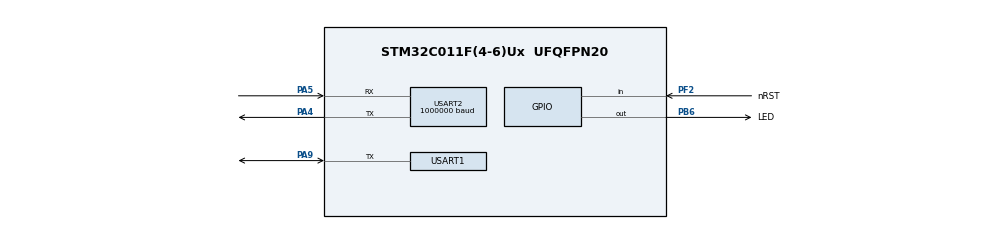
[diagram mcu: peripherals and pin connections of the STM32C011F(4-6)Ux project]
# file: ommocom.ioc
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Mcu.Family=STM32C0
Mcu.Name=STM32C011F(4-6)Ux
Mcu.Package=UFQFPN20
NVIC.TIM17_IRQn=true\:0\:0\:false\:false\:true\:true\:true\:true
NVIC.TIM1_BRK_UP_TRG_COM_IRQn=true\:0\:0\:false\:false\:true\:true\:true\:true
NVIC.USART1_IRQn=true\:0\:0\:false\:false\:true\:true\:true\:true
NVIC.USART2_IRQn=true\:0\:0\:false\:false\:true\:true\:true\:true
PA13.Mode=Serial_Wire
PA13.Signal=DEBUG_SWDIO
PA14-BOOT0.Mode=Serial_Wire
PA14-BOOT0.Signal=DEBUG_SWCLK
PA4.GPIO_PuPd=GPIO_PULLUP
PA4.GPIO_Speed=GPIO_SPEED_FREQ_VERY_HIGH
PA4.Mode=Asynchronous
PA4.PinState=GPIO_PIN_SET
PA4.Signal=USART2_TX
PA5.GPIO_PuPd=GPIO_PULLUP
PA5.GPIO_Speed=GPIO_SPEED_FREQ_VERY_HIGH
PA5.Mode=Asynchronous
PA5.PinState=GPIO_PIN_SET
PA5.Signal=USART2_RX
PA9\ [PA11].GPIO_FMPA9=SYSCFG_FASTMODEPLUS_PA9
PA9\ [PA11].GPIO_PuPd=GPIO_NOPULL
PA9\ [PA11].GPIO_Speed=GPIO_SPEED_FREQ_HIGH
PA9\ [PA11].Mode=Half_duplex(single_wire_mode)
PA9\ [PA11].Signal=USART1_TX
PB6.GPIO_Label=LED
PB6.GPIO_Speed=GPIO_SPEED_FREQ_VERY_HIGH
PB6.PinState=GPIO_PIN_RESET
PB6.Signal=GPIO_Output
PF2-NRST.GPIO_Label=nRST
PF2-NRST.Signal=GPIO_Input
ProjectManager.HeapSize=0x200
ProjectManager.StackSize=0x400
ProjectManager.TargetToolchain=MDK-ARM V5.32
RCC.ADCFreq_Value=48000000
RCC.AHBFreq_Value=48000000
RCC.CortexFreq_Value=48000000
RCC.EXTERNAL_CLOCK_VALUE=12288000
RCC.HCLKFreq_Value=48000000
RCC.HSE_VALUE=48000000
RCC.HSISYSCLKDivider=RCC_HSI_DIV1
RCC.HSI_VALUE=48000000
RCC.LSE_VALUE=32768
RCC.SYSCLKFreq_VALUE=48000000
TIM1.Period=9
TIM1.Prescaler=4799
TIM17.Prescaler=47
USART1.BaudRate=1000000
USART1.VirtualMode-Half_duplex(single_wire_mode)=VM_ASYNC
USART2.BaudRate=1000000
USART2.VirtualMode-Asynchronous=VM_ASYNC
VP_SYS_VS_PINREMAP.Mode=PINREMAP
VP_SYS_VS_PINREMAP_10_12.Mode=PINREMAP_10_12
VP_TIM17_VS_ClockSourceINT.Mode=Enable_Timer
VP_TIM1_VS_ClockSourceINT.Mode=Internal
board=STM32C0116-DK

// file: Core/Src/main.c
/* USER CODE BEGIN Header */
/**
  ******************************************************************************
  * @file           : main.c
  * @brief          : Main program body
  ******************************************************************************
  * @attention

  ******************************************************************************
  */
/* USER CODE END Header */
#include "main.h"
#include "tim.h"
#include "usart.h"
#include "gpio.h"

/* USER CODE BEGIN Includes */
#include <stdio.h>
#include "string.h"
//#include "spi.h"

/* USER CODE END Includes */

/* USER CODE BEGIN PTD */

#define BOOTLOAD_MODE
//#define READSENSOR_MODE

#define WAITREPEATTIME 1000  //10

uint8_t flg_sendtype=0;
    //1 -- FLASHTYPE_SEND_TXINFORM
    //2 -- FLASHTYPE_SEND_DATA
    //3 -- FLASHTYPE_SEND_LAST_DATA
    //4 -- FLASHTYPE_SEND_CRC
    //10 -- FLASHTYPE_GET_SENSOR_DATA

uint8_t iflashstep=0;
    //1 -- FLASHSTATUS_SEND_TXINFORM
    //2 -- FLASHSTATUS_RECEIVE_TXINFORM_RESPONSE
    //3 -- FLASHSTATUS_SEND_DATA
    //4 -- FLASHSTATUS_RECEIVE_DATA_RESPONSE
    //5 -- FLASHSTATUS_SEND_CRC
    //6 -- FLASHSTATUS_RECEIVE_CRC_RESPONSE

uint32_t iwaitrespcount=0;
uint8_t flg_repeat=0;
uint8_t islaveaddrout=0;
uint8_t islaveaddrin=0;

uint8_t mastercmd[TXDATALEN]={0};

/* USER CODE END PTD */

/* USER CODE BEGIN PD */

uint32_t idataoff =0;
uint32_t irestlen =0;
uint8_t flg_lastpackage=0;

#define TOTAL_DATA_SIZE   ( 0xEA4 )         //led bin

uint32_t icrctempdata[TOTAL_DATA_SIZE/4+1]={0};

uint8_t FLASHTEMPDATA[TOTAL_DATA_SIZE]={0};

////static const uint8_t FLASHTEMPDATA[TOTAL_DATA_SIZE]=
////{
////  0x00, 0x18, 0x00, 0x20, 0xF1, 0x36, 0x00, 0x08, 0x81, 0x34, 0x00, 0x08, 0x83, 0x34, 0x00, 0x08,
////  0x00, 0x00, 0x00, 0x00, 0x00, 0x00, 0x00, 0x00, 0x00, 0x00, 0x00, 0x00, 0x00, 0x00, 0x00, 0x00,
////  0x00, 0x00, 0x00, 0x00, 0x00, 0x00, 0x00, 0x00, 0x00, 0x00, 0x00, 0x00, 0x85, 0x34, 0x00, 0x08,
////  0x00, 0x00, 0x00, 0x00, 0x00, 0x00, 0x00, 0x00, 0x87, 0x34, 0x00, 0x08, 0x89, 0x34, 0x00, 0x08,
////  0x41, 0x37, 0x00, 0x08, 0x00, 0x00, 0x00, 0x00, 0x41, 0x37, 0x00, 0x08, 0x41, 0x37, 0x00, 0x08,
////  0x41, 0x37, 0x00, 0x08, 0x41, 0x37, 0x00, 0x08, 0x41, 0x37, 0x00, 0x08, 0x41, 0x37, 0x00, 0x08,
////  0x00, 0x00, 0x00, 0x00, 0x41, 0x37, 0x00, 0x08, 0x41, 0x37, 0x00, 0x08, 0x41, 0x37, 0x00, 0x08,
////  0x41, 0x37, 0x00, 0x08, 0x8D, 0x34, 0x00, 0x08, 0x41, 0x37, 0x00, 0x08, 0x00, 0x00, 0x00, 0x00,
////  0x41, 0x37, 0x00, 0x08, 0x00, 0x00, 0x00, 0x00, 0x00, 0x00, 0x00, 0x00, 0x41, 0x37, 0x00, 0x08,
////  0x00, 0x00, 0x00, 0x00, 0x41, 0x37, 0x00, 0x08, 0x41, 0x37, 0x00, 0x08, 0x41, 0x37, 0x00, 0x08,
////  0x00, 0x00, 0x00, 0x00, 0x41, 0x37, 0x00, 0x08, 0x00, 0x00, 0x00, 0x00, 0xA9, 0x34, 0x00, 0x08,
////  0x41, 0x37, 0x00, 0x08, 0x00, 0x00, 0x00, 0x00, 0x00, 0x00, 0x00, 0x00, 0x00, 0x00, 0x00, 0x00,
////  0x10, 0xB5, 0x06, 0x4C, 0x23, 0x78, 0x00, 0x2B, 0x07, 0xD1, 0x05, 0x4B, 0x00, 0x2B, 0x02, 0xD0,
////  0x04, 0x48, 0x00, 0xE0, 0x00, 0xBF, 0x01, 0x23, 0x23, 0x70, 0x10, 0xBD, 0x3C, 0x00, 0x00, 0x20,
////  0x00, 0x00, 0x00, 0x00, 0x94, 0x3D, 0x00, 0x08, 0x04, 0x4B, 0x10, 0xB5, 0x00, 0x2B, 0x03, 0xD0,
////  0x03, 0x49, 0x04, 0x48, 0x00, 0xE0, 0x00, 0xBF, 0x10, 0xBD, 0xC0, 0x46, 0x00, 0x00, 0x00, 0x00,
////  0x40, 0x00, 0x00, 0x20, 0x94, 0x3D, 0x00, 0x08, 0x00, 0x22, 0x43, 0x08, 0x8B, 0x42, 0x74, 0xD3,
////  0x03, 0x09, 0x8B, 0x42, 0x5F, 0xD3, 0x03, 0x0A, 0x8B, 0x42, 0x44, 0xD3, 0x03, 0x0B, 0x8B, 0x42,
////  0x28, 0xD3, 0x03, 0x0C, 0x8B, 0x42, 0x0D, 0xD3, 0xFF, 0x22, 0x09, 0x02, 0x12, 0xBA, 0x03, 0x0C,
////  0x8B, 0x42, 0x02, 0xD3, 0x12, 0x12, 0x09, 0x02, 0x65, 0xD0, 0x03, 0x0B, 0x8B, 0x42, 0x19, 0xD3,
////  0x00, 0xE0, 0x09, 0x0A, 0xC3, 0x0B, 0x8B, 0x42, 0x01, 0xD3, 0xCB, 0x03, 0xC0, 0x1A, 0x52, 0x41,
////  0x83, 0x0B, 0x8B, 0x42, 0x01, 0xD3, 0x8B, 0x03, 0xC0, 0x1A, 0x52, 0x41, 0x43, 0x0B, 0x8B, 0x42,
////  0x01, 0xD3, 0x4B, 0x03, 0xC0, 0x1A, 0x52, 0x41, 0x03, 0x0B, 0x8B, 0x42, 0x01, 0xD3, 0x0B, 0x03,
////  0xC0, 0x1A, 0x52, 0x41, 0xC3, 0x0A, 0x8B, 0x42, 0x01, 0xD3, 0xCB, 0x02, 0xC0, 0x1A, 0x52, 0x41,
////  0x83, 0x0A, 0x8B, 0x42, 0x01, 0xD3, 0x8B, 0x02, 0xC0, 0x1A, 0x52, 0x41, 0x43, 0x0A, 0x8B, 0x42,
////  0x01, 0xD3, 0x4B, 0x02, 0xC0, 0x1A, 0x52, 0x41, 0x03, 0x0A, 0x8B, 0x42, 0x01, 0xD3, 0x0B, 0x02,
////  0xC0, 0x1A, 0x52, 0x41, 0xCD, 0xD2, 0xC3, 0x09, 0x8B, 0x42, 0x01, 0xD3, 0xCB, 0x01, 0xC0, 0x1A,
////  0x52, 0x41, 0x83, 0x09, 0x8B, 0x42, 0x01, 0xD3, 0x8B, 0x01, 0xC0, 0x1A, 0x52, 0x41, 0x43, 0x09,
////  0x8B, 0x42, 0x01, 0xD3, 0x4B, 0x01, 0xC0, 0x1A, 0x52, 0x41, 0x03, 0x09, 0x8B, 0x42, 0x01, 0xD3,
////  0x0B, 0x01, 0xC0, 0x1A, 0x52, 0x41, 0xC3, 0x08, 0x8B, 0x42, 0x01, 0xD3, 0xCB, 0x00, 0xC0, 0x1A,
////  0x52, 0x41, 0x83, 0x08, 0x8B, 0x42, 0x01, 0xD3, 0x8B, 0x00, 0xC0, 0x1A, 0x52, 0x41, 0x43, 0x08,
////  0x8B, 0x42, 0x01, 0xD3, 0x4B, 0x00, 0xC0, 0x1A, 0x52, 0x41, 0x41, 0x1A, 0x00, 0xD2, 0x01, 0x46,
////  0x52, 0x41, 0x10, 0x46, 0x70, 0x47, 0xFF, 0xE7, 0x01, 0xB5, 0x00, 0x20, 0x00, 0xF0, 0x06, 0xF8,
////  0x02, 0xBD, 0xC0, 0x46, 0x00, 0x29, 0xF7, 0xD0, 0x76, 0xE7, 0x70, 0x47, 0x70, 0x47, 0xC0, 0x46,
////  0x1C, 0x21, 0x01, 0x23, 0x1B, 0x04, 0x98, 0x42, 0x01, 0xD3, 0x00, 0x0C, 0x10, 0x39, 0x1B, 0x0A,
////  0x98, 0x42, 0x01, 0xD3, 0x00, 0x0A, 0x08, 0x39, 0x1B, 0x09, 0x98, 0x42, 0x01, 0xD3, 0x00, 0x09,
////  0x04, 0x39, 0x02, 0xA2, 0x10, 0x5C, 0x40, 0x18, 0x70, 0x47, 0xC0, 0x46, 0x04, 0x03, 0x02, 0x02,
////  0x01, 0x01, 0x01, 0x01, 0x00, 0x00, 0x00, 0x00, 0x00, 0x00, 0x00, 0x00, 0x05, 0x4B, 0x82, 0xB0,
////  0x5A, 0x6B, 0x02, 0x43, 0x5A, 0x63, 0x5B, 0x6B, 0x18, 0x40, 0x01, 0x90, 0x01, 0x9B, 0x02, 0xB0,
////  0x70, 0x47, 0xC0, 0x46, 0x00, 0x10, 0x02, 0x40, 0x70, 0xB5, 0x86, 0xB0, 0x18, 0x22, 0x00, 0x21,
////  0x68, 0x46, 0x00, 0xF0, 0x7E, 0xFD, 0x20, 0x20, 0xFF, 0xF7, 0xE8, 0xFF, 0x01, 0x20, 0xFF, 0xF7,
////  0xE5, 0xFF, 0x40, 0x26, 0x02, 0x20, 0xFF, 0xF7, 0xE1, 0xFF, 0x00, 0x24, 0x04, 0x23, 0x0B, 0x4D,
////  0x69, 0x46, 0xAE, 0x62, 0x0A, 0x48, 0x00, 0x93, 0x01, 0x94, 0x04, 0x94, 0x00, 0xF0, 0xD2, 0xFA,
////  0x01, 0x23, 0x69, 0x46, 0x01, 0x93, 0x28, 0x00, 0x02, 0x33, 0x00, 0x96, 0x02, 0x93, 0x03, 0x94,
////  0x04, 0x94, 0x00, 0xF0, 0xC7, 0xFA, 0x06, 0xB0, 0x70, 0xBD, 0xC0, 0x46, 0x00, 0x04, 0x00, 0x50,
////  0x00, 0x14, 0x00, 0x50, 0x80, 0x22, 0x03, 0x4B, 0x98, 0x62, 0xD9, 0x69, 0x11, 0x42, 0xFC, 0xD0,
////  0x70, 0x47, 0xC0, 0x46, 0x00, 0x38, 0x01, 0x40, 0x10, 0xB5, 0x04, 0x00, 0x20, 0x78, 0x00, 0x28,
////  0x00, 0xD1, 0x10, 0xBD, 0x01, 0x34, 0xFF, 0xF7, 0xED, 0xFF, 0xF7, 0xE7, 0x07, 0x22, 0x1A, 0x49,
////  0x10, 0xB5, 0x0B, 0x68, 0x93, 0x43, 0x1A, 0x00, 0x01, 0x23, 0x13, 0x43, 0x80, 0x22, 0x0B, 0x60,
////  0x16, 0x4B, 0x52, 0x00, 0x19, 0x68, 0x0A, 0x43, 0x1A, 0x60, 0x80, 0x22, 0xD2, 0x00, 0x19, 0x68,
////  0x11, 0x42, 0xFC, 0xD0, 0x5A, 0x68, 0x12, 0x49, 0x11, 0x40, 0x80, 0x22, 0xD2, 0x01, 0x0A, 0x43,
////  0x5A, 0x60, 0x1A, 0x68, 0x0F, 0x49, 0x0A, 0x40, 0x1A, 0x60, 0x9A, 0x68, 0x0E, 0x49, 0x0A, 0x40,
////  0x07, 0x21, 0x9A, 0x60, 0x9A, 0x68, 0x8A, 0x43, 0x9A, 0x60, 0x38, 0x22, 0x99, 0x68, 0x11, 0x42,
////  0xFC, 0xD1, 0x9A, 0x68, 0x09, 0x49, 0x0A, 0x48, 0x0A, 0x40, 0x9A, 0x60, 0x00, 0xF0, 0xB8, 0xFC,
////  0x07, 0x48, 0x00, 0xF0, 0xDB, 0xFC, 0x10, 0xBD, 0x00, 0x20, 0x02, 0x40, 0x00, 0x10, 0x02, 0x40,
////  0xFF, 0x80, 0xFF, 0xFF, 0xFF, 0xC7, 0xFF, 0xFF, 0xFF, 0xF0, 0xFF, 0xFF, 0xFF, 0x8F, 0xFF, 0xFF,
////  0x00, 0x6C, 0xDC, 0x02, 0x01, 0x20, 0xF0, 0xB5, 0x31, 0x4B, 0x32, 0x4C, 0x85, 0xB0, 0xA3, 0x60,
////  0x31, 0x4B, 0xFA, 0x27, 0x19, 0x6C, 0x80, 0x26, 0x01, 0x43, 0x19, 0x64, 0x80, 0x21, 0x1A, 0x6C,
////  0x49, 0x05, 0x02, 0x40, 0x03, 0x92, 0x03, 0x9A, 0xDA, 0x6B, 0x7F, 0x00, 0x0A, 0x43, 0xDA, 0x63,
////  0xC0, 0x22, 0xDB, 0x6B, 0x12, 0x06, 0x0B, 0x40, 0x02, 0x93, 0x02, 0x9B, 0x23, 0x6A, 0xF6, 0x03,
////  0x1B, 0x02, 0x1B, 0x0A, 0x13, 0x43, 0x08, 0x22, 0x23, 0x62, 0x24, 0x4B, 0x19, 0x68, 0x0A, 0x43,
////  0x1A, 0x60, 0x10, 0x22, 0x19, 0x68, 0x0A, 0x43, 0x1A, 0x60, 0xFF, 0xF7, 0x8F, 0xFF, 0xFF, 0xF7,
////  0x4B, 0xFF, 0x00, 0xF0, 0xDD, 0xF8, 0x1E, 0x48, 0xFF, 0xF7, 0x7E, 0xFF, 0x00, 0x25, 0x1D, 0x48,
////  0x01, 0x95, 0xFF, 0xF7, 0x79, 0xFF, 0x38, 0x00, 0x00, 0xF0, 0x7A, 0xFC, 0x40, 0x22, 0x1A, 0x49,
////  0x48, 0x69, 0x03, 0x04, 0x82, 0x43, 0x33, 0x40, 0x13, 0x43, 0x8B, 0x61, 0x17, 0x4B, 0x1A, 0x68,
////  0x51, 0x1C, 0x19, 0x60, 0x09, 0x2A, 0xE9, 0xD9, 0x1D, 0x60, 0x00, 0xF0, 0x99, 0xF9, 0x80, 0x22,
////  0x13, 0x4B, 0x12, 0x02, 0x1A, 0x61, 0x01, 0x23, 0x12, 0x4A, 0x13, 0x49, 0x5B, 0x42, 0x01, 0x20,
////  0x00, 0xF0, 0xDC, 0xF9, 0x00, 0xF0, 0x9E, 0xF9, 0x01, 0x23, 0x83, 0xF3, 0x10, 0x88, 0xBF, 0xF3,
////  0x4F, 0x8F, 0x0E, 0x4B, 0xE3, 0x60, 0xBF, 0xF3, 0x4F, 0x8F, 0xC0, 0x46, 0xFD, 0xE7, 0xC0, 0x46,
////  0x00, 0x30, 0x00, 0x08, 0x00, 0xED, 0x00, 0xE0, 0x00, 0x10, 0x02, 0x40, 0x00, 0x00, 0x01, 0x40,
////  0xC0, 0x3D, 0x00, 0x08, 0xC6, 0x3D, 0x00, 0x08, 0x00, 0x04, 0x00, 0x50, 0x58, 0x00, 0x00, 0x20,
////  0x00, 0x20, 0x02, 0x40, 0x55, 0x55, 0xAA, 0xAA, 0x00, 0x70, 0x00, 0x08, 0x04, 0x00, 0xFA, 0x05,
////  0xFE, 0xE7, 0xFE, 0xE7, 0x70, 0x47, 0x70, 0x47, 0x70, 0x47, 0x00, 0x00, 0x05, 0x4B, 0x10, 0xB5,
////  0x1A, 0x69, 0xD2, 0x07, 0x02, 0xD5, 0x02, 0x22, 0x52, 0x42, 0x1A, 0x61, 0x00, 0xF0, 0x7A, 0xF8,
////  0x10, 0xBD, 0xC0, 0x46, 0x00, 0x2C, 0x01, 0x40, 0xF7, 0xB5, 0x20, 0x22, 0x2D, 0x4B, 0xD9, 0x69,
////  0x11, 0x42, 0x42, 0xD0, 0x19, 0x68, 0x11, 0x42, 0x3F, 0xD0, 0x2B, 0x4E, 0x5B, 0x6A, 0x31, 0x78,
////  0xDB, 0xB2, 0x00, 0x29, 0x0A, 0xD1, 0x55, 0x2B, 0x13, 0xD1, 0x28, 0x49, 0x1F, 0x3A, 0x32, 0x70,
////  0x0A, 0x68, 0x50, 0x1C, 0x08, 0x60, 0x26, 0x49, 0x53, 0x54, 0x0A, 0xE0, 0x25, 0x4F, 0x3D, 0x78,
////  0x00, 0x2D, 0x0D, 0xD1, 0x01, 0x29, 0x04, 0xD1, 0x20, 0x4A, 0xAA, 0x2B, 0x02, 0xD0, 0x35, 0x70,
////  0x15, 0x60, 0xF7, 0xBD, 0x39, 0x70, 0x11, 0x68, 0x48, 0x1C, 0x10, 0x60, 0x1C, 0x4A, 0xEB, 0xE7,
////  0x01, 0x2D, 0xF6, 0xD1, 0x19, 0x4C, 0x22, 0x68, 0x51, 0x1C, 0x21, 0x60, 0x18, 0x49, 0x8B, 0x54,
////  0x0A, 0x2B, 0xEE, 0xD1, 0x23, 0x68, 0x02, 0x3B, 0xCB, 0x5C, 0x0D, 0x2B, 0xE9, 0xD1, 0x22, 0x68,
////  0x15, 0x48, 0x00, 0xF0, 0x25, 0xFC, 0x22, 0x68, 0x14, 0x4B, 0x1A, 0x60, 0x14, 0x4B, 0x1D, 0x70,
////  0x00, 0x23, 0x33, 0x70, 0x3B, 0x70, 0x23, 0x60, 0xDB, 0xE7, 0xDA, 0x69, 0x01, 0x92, 0x04, 0x22,
////  0x01, 0x99, 0x11, 0x42, 0x01, 0xD0, 0x1A, 0x62, 0xD3, 0xE7, 0x01, 0x22, 0x01, 0x99, 0x11, 0x42,
////  0xF9, 0xD1, 0x08, 0x22, 0x01, 0x99, 0x11, 0x42, 0xF5, 0xD1, 0x02, 0x22, 0x01, 0x99, 0x11, 0x42,
////  0xC7, 0xD0, 0xF0, 0xE7, 0x00, 0x38, 0x01, 0x40, 0x5D, 0x00, 0x00, 0x20, 0x60, 0x00, 0x00, 0x20,
////  0x68, 0x00, 0x00, 0x20, 0x5E, 0x00, 0x00, 0x20, 0x7E, 0x00, 0x00, 0x20, 0x64, 0x00, 0x00, 0x20,
////  0x5C, 0x00, 0x00, 0x20, 0x01, 0x4B, 0x02, 0x4A, 0x9A, 0x60, 0x70, 0x47, 0x00, 0xED, 0x00, 0xE0,
////  0x00, 0x30, 0x00, 0x08, 0x01, 0x22, 0x01, 0x4B, 0x1A, 0x70, 0x70, 0x47, 0x94, 0x00, 0x00, 0x20,
////  0x70, 0xB5, 0x90, 0xB0, 0x20, 0x22, 0x00, 0x21, 0x08, 0xA8, 0x00, 0xF0, 0xEA, 0xFB, 0x03, 0x21,
////  0x80, 0x24, 0x01, 0x25, 0x46, 0x4B, 0xE4, 0x01, 0x5A, 0x6D, 0x80, 0x26, 0x8A, 0x43, 0x5A, 0x65,
////  0x18, 0x6C, 0xF6, 0x03, 0x20, 0x43, 0x18, 0x64, 0x1A, 0x6C, 0xA0, 0x20, 0x22, 0x40, 0x01, 0x92,
////  0x01, 0x9A, 0x5A, 0x6B, 0xC0, 0x05, 0x2A, 0x43, 0x5A, 0x63, 0x5B, 0x6B, 0x04, 0x91, 0x2B, 0x40,
////  0x00, 0x93, 0x00, 0x9B, 0x80, 0x23, 0x9B, 0x00, 0x02, 0x93, 0xFF, 0x3B, 0xFF, 0x3B, 0x02, 0xA9,
////  0x03, 0x93, 0x05, 0x95, 0x06, 0x95, 0x07, 0x95, 0x00, 0xF0, 0x2C, 0xF9, 0xC6, 0x21, 0x35, 0x4A,
////  0x89, 0x00, 0x13, 0x68, 0x33, 0x43, 0x13, 0x60, 0x33, 0x4A, 0x53, 0x58, 0x1B, 0x02, 0x1B, 0x0A,
////  0x53, 0x50, 0x80, 0x23, 0x1B, 0x05, 0x13, 0x60, 0x30, 0x4A, 0x00, 0x23, 0x09, 0x92, 0x0C, 0x22,
////  0x2F, 0x4C, 0x08, 0xA9, 0x20, 0x00, 0x08, 0x93, 0x0A, 0x93, 0x0B, 0x93, 0x0C, 0x93, 0x0D, 0x92,
////  0x0F, 0x93, 0x00, 0xF0, 0xDF, 0xFA, 0xEF, 0xF3, 0x10, 0x82, 0x85, 0xF3, 0x10, 0x88, 0xA3, 0x68,
////  0xDB, 0x00, 0xDB, 0x08, 0xA3, 0x60, 0x82, 0xF3, 0x10, 0x88, 0xEF, 0xF3, 0x10, 0x82, 0x85, 0xF3,
////  0x10, 0x88, 0x24, 0x49, 0xA3, 0x68, 0x0B, 0x40, 0xA3, 0x60, 0x82, 0xF3, 0x10, 0x88, 0x22, 0x4A,
////  0x23, 0x68, 0x13, 0x40, 0x23, 0x60, 0x63, 0x68, 0x20, 0x4A, 0x13, 0x40, 0x22, 0x22, 0x63, 0x60,
////  0xA3, 0x68, 0x93, 0x43, 0xA3, 0x60, 0x08, 0x23, 0xA2, 0x68, 0x13, 0x43, 0x80, 0x22, 0xA3, 0x60,
////  0x23, 0x68, 0x92, 0x03, 0x1D, 0x43, 0x25, 0x60, 0xE3, 0x69, 0x13, 0x42, 0xFC, 0xD0, 0xE3, 0x69,
////  0x33, 0x42, 0xF9, 0xD0, 0x08, 0x23, 0x02, 0x22, 0x23, 0x62, 0x04, 0x3B, 0x23, 0x62, 0x03, 0x3B,
////  0x23, 0x62, 0x22, 0x62, 0xEF, 0xF3, 0x10, 0x81, 0x83, 0xF3, 0x10, 0x88, 0x20, 0x68, 0x1E, 0x32,
////  0x02, 0x43, 0x22, 0x60, 0x81, 0xF3, 0x10, 0x88, 0xEF, 0xF3, 0x10, 0x82, 0x83, 0xF3, 0x10, 0x88,
////  0xA1, 0x68, 0x0B, 0x43, 0xA3, 0x60, 0x82, 0xF3, 0x10, 0x88, 0x10, 0xB0, 0x70, 0xBD, 0xC0, 0x46,
////  0x00, 0x10, 0x02, 0x40, 0x00, 0x00, 0x01, 0x40, 0x00, 0xE1, 0x00, 0xE0, 0x40, 0x42, 0x0F, 0x00,
////  0x00, 0x38, 0x01, 0x40, 0xFF, 0xFF, 0xFF, 0xF1, 0xFF, 0xFF, 0xFF, 0xDF, 0xFF, 0xB7, 0xFF, 0xFF,
////  0x0D, 0x48, 0x85, 0x46, 0xFF, 0xF7, 0x46, 0xFF, 0x00, 0x21, 0x03, 0xE0, 0x0B, 0x4B, 0x5B, 0x58,
////  0x43, 0x50, 0x04, 0x31, 0x0A, 0x48, 0x0B, 0x4B, 0x42, 0x18, 0x9A, 0x42, 0xF6, 0xD3, 0x0A, 0x4A,
////  0x02, 0xE0, 0x00, 0x23, 0x13, 0x60, 0x04, 0x32, 0x08, 0x4B, 0x9A, 0x42, 0xF9, 0xD3, 0x00, 0xF0,
////  0x03, 0xFB, 0xFF, 0xF7, 0x2F, 0xFE, 0xFE, 0xE7, 0x00, 0x18, 0x00, 0x20, 0x68, 0x3E, 0x00, 0x08,
////  0x00, 0x00, 0x00, 0x20, 0x3C, 0x00, 0x00, 0x20, 0x3C, 0x00, 0x00, 0x20, 0xB4, 0x00, 0x00, 0x20,
////  0xFE, 0xE7, 0x00, 0x00, 0x01, 0x4B, 0x18, 0x68, 0x70, 0x47, 0xC0, 0x46, 0x98, 0x00, 0x00, 0x20,
////  0x00, 0x20, 0x05, 0x4B, 0x5A, 0x69, 0x82, 0x42, 0x05, 0xDA, 0x04, 0x4A, 0x9A, 0x60, 0x04, 0x4A,
////  0x9A, 0x60, 0x58, 0x69, 0xC0, 0x0F, 0x70, 0x47, 0x00, 0x20, 0x02, 0x40, 0x23, 0x01, 0x67, 0x45,
////  0xAB, 0x89, 0xEF, 0xCD, 0x80, 0x22, 0x04, 0x4B, 0x12, 0x06, 0x59, 0x69, 0x0A, 0x43, 0x5A, 0x61,
////  0x58, 0x69, 0xC0, 0x43, 0xC0, 0x0F, 0x70, 0x47, 0x00, 0x20, 0x02, 0x40, 0xF8, 0xB5, 0x05, 0x00,
////  0x80, 0x27, 0xFF, 0xF7, 0xD7, 0xFF, 0x7F, 0x02, 0x46, 0x19, 0x11, 0x4C, 0x23, 0x69, 0x3B, 0x42,
////  0x05, 0xD0, 0xFF, 0xF7, 0xCF, 0xFF, 0xB0, 0x42, 0xF7, 0xD3, 0x03, 0x20, 0x07, 0xE0, 0x23, 0x69,
////  0x0C, 0x4A, 0x13, 0x40, 0x23, 0x61, 0x03, 0xD0, 0x01, 0x20, 0x0B, 0x4A, 0x53, 0x60, 0xF8, 0xBD,
////  0xFF, 0xF7, 0xC0, 0xFF, 0x80, 0x26, 0x2D, 0x18, 0xF6, 0x02, 0x23, 0x69, 0x18, 0x00, 0x30, 0x40,
////  0x33, 0x42, 0xF4, 0xD0, 0xFF, 0xF7, 0xB6, 0xFF, 0x85, 0x42, 0xF6, 0xD8, 0xE5, 0xE7, 0xC0, 0x46,
////  0x00, 0x20, 0x02, 0x40, 0xFA, 0xC3, 0x00, 0x00, 0x9C, 0x00, 0x00, 0x20, 0xF7, 0xB5, 0x17, 0x4E,
////  0x01, 0x93, 0x33, 0x78, 0x04, 0x00, 0x0D, 0x00, 0x02, 0x20, 0x00, 0x92, 0x01, 0x2B, 0x1E, 0xD0,
////  0x01, 0x23, 0xFA, 0x20, 0x33, 0x70, 0x00, 0x23, 0x80, 0x00, 0x73, 0x60, 0xFF, 0xF7, 0xBE, 0xFF,
////  0x00, 0x28, 0x12, 0xD1, 0x0E, 0x4F, 0x01, 0x2C, 0x12, 0xD1, 0x7B, 0x69, 0x23, 0x43, 0x7B, 0x61,
////  0x00, 0x9B, 0x2B, 0x60, 0xBF, 0xF3, 0x6F, 0x8F, 0x01, 0x9B, 0x6B, 0x60, 0xFA, 0x20, 0x80, 0x00,
////  0xFF, 0xF7, 0xAC, 0xFF, 0x7B, 0x69, 0xA3, 0x43, 0x7B, 0x61, 0x00, 0x23, 0x33, 0x70, 0xFE, 0xBD,
////  0x28, 0x00, 0x00, 0x99, 0x00, 0xF0, 0xB4, 0xFA, 0xF0, 0xE7, 0xC0, 0x46, 0x9C, 0x00, 0x00, 0x20,
////  0x00, 0x20, 0x02, 0x40, 0xF0, 0xB5, 0x87, 0xB0, 0x0B, 0x68, 0x02, 0x91, 0x1F, 0x22, 0x01, 0x21,
////  0x01, 0x93, 0x05, 0x00, 0x01, 0x98, 0x5B, 0x08, 0x00, 0x2B, 0x1E, 0xD1, 0x90, 0x40, 0x20, 0x33,
////  0x00, 0x28, 0x02, 0xD0, 0xFF, 0xF7, 0xD4, 0xFC, 0xC3, 0xB2, 0x03, 0x93, 0x02, 0x9B, 0x03, 0x9A,
////  0x5B, 0x68, 0x04, 0x93, 0x01, 0x9B, 0xD3, 0x40, 0x16, 0xD1, 0x04, 0x9B, 0x01, 0x3B, 0x01, 0x2B,
////  0x08, 0xD8, 0x6B, 0x68, 0x01, 0x9A, 0x01, 0x99, 0x93, 0x43, 0x02, 0x9A, 0xD2, 0x68, 0x4A, 0x43,
////  0x13, 0x43, 0x6B, 0x60, 0x00, 0x20, 0x07, 0xB0, 0xF0, 0xBD, 0x1C, 0x00, 0x40, 0x00, 0x0C, 0x40,
////  0x20, 0x43, 0x01, 0x3A, 0x5B, 0x08, 0xD7, 0xE7, 0x01, 0x23, 0x03, 0x9A, 0x01, 0x9C, 0x93, 0x40,
////  0x01, 0x9A, 0x1C, 0x40, 0x1A, 0x42, 0x00, 0xD1, 0xD3, 0xE0, 0x66, 0x08, 0x20, 0x00, 0x33, 0x00,
////  0x1F, 0x22, 0x2F, 0x68, 0x00, 0x2B, 0x70, 0xD1, 0x90, 0x40, 0x20, 0x33, 0x00, 0x28, 0x02, 0xD0,
////  0xFF, 0xF7, 0x9E, 0xFC, 0xC3, 0xB2, 0x03, 0x22, 0x5B, 0x00, 0x9A, 0x40, 0x20, 0x00, 0x97, 0x43,
////  0x33, 0x00, 0x1F, 0x22, 0x00, 0x2B, 0x67, 0xD1, 0x90, 0x40, 0x20, 0x33, 0x00, 0x28, 0x02, 0xD0,
////  0xFF, 0xF7, 0x8E, 0xFC, 0xC3, 0xB2, 0x04, 0x9A, 0x5B, 0x00, 0x9A, 0x40, 0x04, 0x9B, 0x17, 0x43,
////  0x01, 0x3B, 0x2F, 0x60, 0x01, 0x2B, 0x24, 0xD8, 0x02, 0x9B, 0x20, 0x00, 0x9B, 0x68, 0x1F, 0x22,
////  0x05, 0x93, 0x33, 0x00, 0xAF, 0x68, 0x00, 0x2B, 0x55, 0xD1, 0x90, 0x40, 0x20, 0x33, 0x00, 0x28,
////  0x02, 0xD0, 0xFF, 0xF7, 0x75, 0xFC, 0xC3, 0xB2, 0x03, 0x22, 0x5B, 0x00, 0x9A, 0x40, 0x20, 0x00,
////  0x97, 0x43, 0x33, 0x00, 0x1F, 0x22, 0x00, 0x2B, 0x4C, 0xD1, 0x90, 0x40, 0x20, 0x33, 0x00, 0x28,
////  0x02, 0xD0, 0xFF, 0xF7, 0x65, 0xFC, 0xC3, 0xB2, 0x05, 0x9A, 0x5B, 0x00, 0x9A, 0x40, 0x17, 0x43,
////  0xAF, 0x60, 0x02, 0x9B, 0x20, 0x00, 0x1B, 0x69, 0x1F, 0x22, 0x05, 0x93, 0x33, 0x00, 0xEF, 0x68,
////  0x00, 0x2B, 0x3E, 0xD1, 0x90, 0x40, 0x20, 0x33, 0x00, 0x28, 0x02, 0xD0, 0xFF, 0xF7, 0x50, 0xFC,
////  0xC3, 0xB2, 0x03, 0x22, 0x5B, 0x00, 0x9A, 0x40, 0x20, 0x00, 0x97, 0x43, 0x33, 0x00, 0x1F, 0x22,
////  0x00, 0x2B, 0x35, 0xD1, 0x90, 0x40, 0x20, 0x33, 0x00, 0x28, 0x02, 0xD0, 0xFF, 0xF7, 0x40, 0xFC,
////  0xC3, 0xB2, 0x05, 0x9A, 0x5B, 0x00, 0x9A, 0x40, 0x04, 0x9B, 0x17, 0x43, 0xEF, 0x60, 0x02, 0x2B,
////  0x5F, 0xD1, 0x20, 0x00, 0x33, 0x00, 0x1F, 0x22, 0x2F, 0xE0, 0x01, 0x21, 0x40, 0x00, 0x19, 0x40,
////  0x08, 0x43, 0x01, 0x3A, 0x5B, 0x08, 0x85, 0xE7, 0x01, 0x21, 0x40, 0x00, 0x19, 0x40, 0x08, 0x43,
////  0x01, 0x3A, 0x5B, 0x08, 0x8E, 0xE7, 0x01, 0x21, 0x40, 0x00, 0x19, 0x40, 0x08, 0x43, 0x01, 0x3A,
////  0x5B, 0x08, 0xA0, 0xE7, 0x01, 0x21, 0x40, 0x00, 0x19, 0x40, 0x08, 0x43, 0x01, 0x3A, 0x5B, 0x08,
////  0xA9, 0xE7, 0x01, 0x21, 0x40, 0x00, 0x19, 0x40, 0x08, 0x43, 0x01, 0x3A, 0x5B, 0x08, 0xB7, 0xE7,
////  0x01, 0x21, 0x40, 0x00, 0x19, 0x40, 0x08, 0x43, 0x01, 0x3A, 0x5B, 0x08, 0xC0, 0xE7, 0x01, 0x21,
////  0x40, 0x00, 0x19, 0x40, 0x08, 0x43, 0x01, 0x3A, 0x5B, 0x08, 0x00, 0x2B, 0xF7, 0xD1, 0x02, 0x9B,
////  0x90, 0x40, 0x5B, 0x69, 0x04, 0x93, 0x35, 0xD0, 0xFF, 0xF7, 0xFA, 0xFB, 0x07, 0x28, 0x31, 0xDC,
////  0x20, 0x00, 0x33, 0x00, 0x1F, 0x22, 0x2F, 0x6A, 0x00, 0x2B, 0x1D, 0xD1, 0x90, 0x40, 0x20, 0x33,
////  0x00, 0x28, 0x02, 0xD0, 0xFF, 0xF7, 0xEC, 0xFB, 0xC3, 0xB2, 0x0F, 0x22, 0x9B, 0x00, 0x9A, 0x40,
////  0x1F, 0x23, 0x97, 0x43, 0x00, 0x2E, 0x16, 0xD1, 0x20, 0x00, 0x98, 0x40, 0x20, 0x23, 0x00, 0x28,
////  0x02, 0xD0, 0xFF, 0xF7, 0xDD, 0xFB, 0xC3, 0xB2, 0x04, 0x9A, 0x9B, 0x00, 0x9A, 0x40, 0x17, 0x43,
////  0x2F, 0x62, 0x03, 0x9B, 0x01, 0x33, 0x00, 0xE7, 0x01, 0x21, 0x40, 0x00, 0x19, 0x40, 0x08, 0x43,
////  0x01, 0x3A, 0x5B, 0x08, 0xD8, 0xE7, 0x01, 0x20, 0x64, 0x00, 0x30, 0x40, 0x04, 0x43, 0x01, 0x3B,
////  0x76, 0x08, 0xDF, 0xE7, 0x26, 0x0A, 0x64, 0x0A, 0x30, 0x00, 0x23, 0x00, 0x1F, 0x22, 0x6F, 0x6A,
////  0x00, 0x2B, 0x1B, 0xD1, 0x90, 0x40, 0x20, 0x33, 0x00, 0x28, 0x02, 0xD0, 0xFF, 0xF7, 0xB8, 0xFB,
////  0xC3, 0xB2, 0x0F, 0x22, 0x9B, 0x00, 0x9A, 0x40, 0x1F, 0x23, 0x97, 0x43, 0x00, 0x2C, 0x14, 0xD1,
////  0x30, 0x00, 0x98, 0x40, 0x20, 0x23, 0x00, 0x28, 0x02, 0xD0, 0xFF, 0xF7, 0xA9, 0xFB, 0xC3, 0xB2,
////  0x04, 0x9A, 0x9B, 0x00, 0x9A, 0x40, 0x17, 0x43, 0x6F, 0x62, 0xCA, 0xE7, 0x01, 0x21, 0x40, 0x00,
////  0x19, 0x40, 0x08, 0x43, 0x01, 0x3A, 0x5B, 0x08, 0xDA, 0xE7, 0x01, 0x20, 0x76, 0x00, 0x20, 0x40,
////  0x06, 0x43, 0x01, 0x3B, 0x64, 0x08, 0xE1, 0xE7, 0x38, 0x22, 0x06, 0x49, 0x8B, 0x68, 0x13, 0x40,
////  0x05, 0x4A, 0x10, 0x00, 0x08, 0x2B, 0x04, 0xD0, 0x0B, 0x68, 0x9B, 0x04, 0x5B, 0x0F, 0xDA, 0x40,
////  0x10, 0x00, 0x70, 0x47, 0x00, 0x10, 0x02, 0x40, 0x00, 0x6C, 0xDC, 0x02, 0x05, 0x4B, 0x06, 0x4A,
////  0x9B, 0x68, 0x1B, 0x05, 0x1B, 0x0F, 0x9B, 0x00, 0x9B, 0x58, 0x1F, 0x22, 0x13, 0x40, 0xD8, 0x40,
////  0x70, 0x47, 0xC0, 0x46, 0x00, 0x10, 0x02, 0x40, 0xD0, 0x3D, 0x00, 0x08, 0x05, 0x4B, 0x06, 0x4A,
////  0x9B, 0x68, 0x5B, 0x04, 0x5B, 0x0F, 0x9B, 0x00, 0x9B, 0x58, 0x1F, 0x22, 0x13, 0x40, 0xD8, 0x40,
////  0x70, 0x47, 0xC0, 0x46, 0x00, 0x10, 0x02, 0x40, 0x10, 0x3E, 0x00, 0x08, 0x10, 0xB5, 0x04, 0x00,
////  0xFF, 0xF7, 0xCA, 0xFF, 0x20, 0x60, 0xFF, 0xF7, 0xD9, 0xFF, 0x60, 0x60, 0xFF, 0xF7, 0xE6, 0xFF,
////  0xA0, 0x60, 0x10, 0xBD, 0x02, 0x00, 0x10, 0xB5, 0x00, 0x20, 0x03, 0x2A, 0x10, 0xD1, 0x18, 0x4B,
////  0x58, 0x6D, 0x02, 0x40, 0xC0, 0x20, 0x80, 0x02, 0x10, 0x43, 0x16, 0x4A, 0x90, 0x42, 0x08, 0xD0,
////  0x15, 0x4A, 0x90, 0x42, 0x14, 0xD0, 0x15, 0x4B, 0x98, 0x42, 0x1A, 0xD1, 0xFF, 0xF7, 0xAC, 0xFF,
////  0x10, 0xBD, 0x19, 0x68, 0x80, 0x22, 0x08, 0x00, 0xD2, 0x00, 0x10, 0x40, 0x11, 0x42, 0xF7, 0xD0,
////  0x19, 0x68, 0x0F, 0x48, 0x09, 0x06, 0x49, 0x0F, 0x01, 0x31, 0xFF, 0xF7, 0xA5, 0xFA, 0xEF, 0xE7,
////  0xDA, 0x6D, 0x02, 0x23, 0x10, 0x00, 0x18, 0x40, 0x1A, 0x42, 0xE9, 0xD0, 0x80, 0x20, 0x00, 0x02,
////  0xE6, 0xE7, 0xFF, 0xF7, 0x91, 0xFF, 0xFF, 0xF7, 0xA1, 0xFF, 0xFF, 0xF7, 0xAF, 0xFF, 0xDF, 0xE7,
////  0x00, 0x10, 0x02, 0x40, 0x02, 0x00, 0x03, 0x00, 0x03, 0x00, 0x03, 0x00, 0x01, 0x00, 0x03, 0x00,
////  0x00, 0x6C, 0xDC, 0x02, 0xF0, 0xB5, 0x01, 0x26, 0x03, 0x68, 0x04, 0x00, 0x0D, 0x00, 0x85, 0xB0,
////  0x33, 0x42, 0x48, 0xD1, 0x8B, 0x68, 0x09, 0x69, 0x02, 0x68, 0x0B, 0x43, 0x69, 0x69, 0x0B, 0x43,
////  0xE9, 0x69, 0x0B, 0x43, 0x27, 0x49, 0x0A, 0x40, 0x13, 0x43, 0x03, 0x60, 0x43, 0x68, 0x26, 0x4A,
////  0x13, 0x40, 0xEA, 0x68, 0x13, 0x43, 0x43, 0x60, 0x83, 0x68, 0x24, 0x4A, 0x13, 0x40, 0xAA, 0x69,
////  0x13, 0x43, 0x83, 0x60, 0x22, 0x4B, 0x98, 0x42, 0x22, 0xD1, 0x03, 0x20, 0xFF, 0xF7, 0x9A, 0xFF,
////  0x00, 0x28, 0x20, 0xD0, 0x6F, 0x68, 0x00, 0x2F, 0x1D, 0xD0, 0x2B, 0x68, 0x00, 0x26, 0x0B, 0x2B,
////  0x1A, 0xD8, 0x1C, 0x4A, 0x9B, 0x00, 0x99, 0x58, 0xFF, 0xF7, 0x56, 0xFA, 0x80, 0x22, 0xE9, 0x69,
////  0x7B, 0x08, 0x12, 0x02, 0x91, 0x42, 0x1E, 0xD1, 0x40, 0x00, 0xC0, 0x18, 0x39, 0x00, 0xFF, 0xF7,
////  0x4B, 0xFA, 0x15, 0x4B, 0x03, 0x40, 0x00, 0x07, 0x40, 0x0F, 0x18, 0x43, 0xE0, 0x60, 0x03, 0xE0,
////  0x12, 0x4B, 0x98, 0x42, 0x0A, 0xD0, 0x01, 0x26, 0x0F, 0x22, 0xE1, 0x6A, 0x2B, 0x68, 0x91, 0x43,
////  0x9B, 0xB2, 0x0B, 0x43, 0xE3, 0x62, 0x30, 0x00, 0x05, 0xB0, 0xF0, 0xBD, 0x01, 0xA8, 0xFF, 0xF7,
////  0x5D, 0xFF, 0x03, 0x98, 0xCC, 0xE7, 0x39, 0x00, 0xC0, 0x18, 0xFF, 0xF7, 0x2D, 0xFA, 0x80, 0xB2,
////  0xE4, 0xE7, 0xC0, 0x46, 0xF3, 0x69, 0xFF, 0xEF, 0xFF, 0xCF, 0xFF, 0xFF, 0xFF, 0xFC, 0xFF, 0xFF,
////  0x00, 0x38, 0x01, 0x40, 0x30, 0x3E, 0x00, 0x08, 0xF0, 0xFF, 0x00, 0x00, 0x00, 0x44, 0x00, 0x40,
////  0xFA, 0x21, 0x10, 0xB5, 0x89, 0x00, 0xFF, 0xF7, 0x17, 0xFA, 0x00, 0x22, 0x03, 0x4B, 0x01, 0x38,
////  0x58, 0x60, 0x9A, 0x60, 0x05, 0x32, 0x1A, 0x60, 0x10, 0xBD, 0xC0, 0x46, 0x10, 0xE0, 0x00, 0xE0,
////  0x09, 0x4A, 0x82, 0xB0, 0x13, 0x68, 0x01, 0x93, 0x01, 0x9B, 0x43, 0x1C, 0x59, 0x1E, 0x8B, 0x41,
////  0xC0, 0x18, 0x80, 0x23, 0x5B, 0x02, 0x00, 0x28, 0x01, 0xD1, 0x02, 0xB0, 0x70, 0x47, 0x11, 0x68,
////  0x19, 0x42, 0xF8, 0xD0, 0x01, 0x38, 0xF6, 0xE7, 0x10, 0xE0, 0x00, 0xE0, 0x01, 0x4B, 0x18, 0x60,
////  0x70, 0x47, 0xC0, 0x46, 0x00, 0x00, 0x00, 0x20, 0x70, 0xB5, 0x00, 0x26, 0x0C, 0x4D, 0x0D, 0x4C,
////  0x64, 0x1B, 0xA4, 0x10, 0xA6, 0x42, 0x09, 0xD1, 0x00, 0x26, 0x00, 0xF0, 0x2B, 0xF8, 0x0A, 0x4D,
////  0x0A, 0x4C, 0x64, 0x1B, 0xA4, 0x10, 0xA6, 0x42, 0x05, 0xD1, 0x70, 0xBD, 0xB3, 0x00, 0xEB, 0x58,
////  0x98, 0x47, 0x01, 0x36, 0xEE, 0xE7, 0xB3, 0x00, 0xEB, 0x58, 0x98, 0x47, 0x01, 0x36, 0xF2, 0xE7,
////  0x60, 0x3E, 0x00, 0x08, 0x60, 0x3E, 0x00, 0x08, 0x60, 0x3E, 0x00, 0x08, 0x64, 0x3E, 0x00, 0x08,
////  0x00, 0x23, 0x10, 0xB5, 0x9A, 0x42, 0x00, 0xD1, 0x10, 0xBD, 0xCC, 0x5C, 0xC4, 0x54, 0x01, 0x33,
////  0xF8, 0xE7, 0x03, 0x00, 0x82, 0x18, 0x93, 0x42, 0x00, 0xD1, 0x70, 0x47, 0x19, 0x70, 0x01, 0x33,
////  0xF9, 0xE7, 0x00, 0x00, 0xF8, 0xB5, 0xC0, 0x46, 0xF8, 0xBC, 0x08, 0xBC, 0x9E, 0x46, 0x70, 0x47,
////  0xF8, 0xB5, 0xC0, 0x46, 0xF8, 0xBC, 0x08, 0xBC, 0x9E, 0x46, 0x70, 0x47, 0x00, 0x00, 0x00, 0x00,
////  0x01, 0xB4, 0x02, 0x48, 0x84, 0x46, 0x01, 0xBC, 0x60, 0x47, 0x00, 0xBF, 0x05, 0x00, 0x00, 0x20,
////  0x73, 0x74, 0x33, 0x0D, 0x0A, 0x00, 0x72, 0x75, 0x6E, 0x33, 0x0D, 0x0A, 0x00, 0x00, 0x00, 0x00,
////  0x00, 0x00, 0x00, 0x00, 0x00, 0x00, 0x00, 0x00, 0x00, 0x00, 0x00, 0x00, 0x00, 0x00, 0x00, 0x00,
////  0x00, 0x00, 0x00, 0x00, 0x00, 0x00, 0x00, 0x00, 0x00, 0x00, 0x00, 0x00, 0x00, 0x00, 0x00, 0x00,
////  0x01, 0x00, 0x00, 0x00, 0x02, 0x00, 0x00, 0x00, 0x03, 0x00, 0x00, 0x00, 0x04, 0x00, 0x00, 0x00,
////  0x06, 0x00, 0x00, 0x00, 0x07, 0x00, 0x00, 0x00, 0x08, 0x00, 0x00, 0x00, 0x09, 0x00, 0x00, 0x00,
////  0x00, 0x00, 0x00, 0x00, 0x00, 0x00, 0x00, 0x00, 0x00, 0x00, 0x00, 0x00, 0x00, 0x00, 0x00, 0x00,
////  0x01, 0x00, 0x00, 0x00, 0x02, 0x00, 0x00, 0x00, 0x03, 0x00, 0x00, 0x00, 0x04, 0x00, 0x00, 0x00,
////  0x01, 0x00, 0x00, 0x00, 0x02, 0x00, 0x00, 0x00, 0x04, 0x00, 0x00, 0x00, 0x06, 0x00, 0x00, 0x00,
////  0x08, 0x00, 0x00, 0x00, 0x0A, 0x00, 0x00, 0x00, 0x0C, 0x00, 0x00, 0x00, 0x10, 0x00, 0x00, 0x00,
////  0x20, 0x00, 0x00, 0x00, 0x40, 0x00, 0x00, 0x00, 0x80, 0x00, 0x00, 0x00, 0x00, 0x01, 0x00, 0x00,
////  0xE9, 0x30, 0x00, 0x08, 0xC1, 0x30, 0x00, 0x08, 0x00, 0x6C, 0xDC, 0x02, 0x80, 0x22, 0x0C, 0x4B,
////  0x30, 0xB5, 0x5C, 0x69, 0xD2, 0x02, 0x22, 0x43, 0x5A, 0x61, 0xEF, 0xF3, 0x10, 0x82, 0x72, 0xB6,
////  0x4C, 0x1C, 0xFF, 0x34, 0x40, 0x1A, 0x0D, 0x68, 0x45, 0x50, 0x04, 0x31, 0xA1, 0x42, 0xFA, 0xD1,
////  0x80, 0x21, 0x49, 0x02, 0x18, 0x69, 0x08, 0x42, 0xFC, 0xD1, 0x82, 0xF3, 0x10, 0x88, 0x30, 0xBD,
////  0x00, 0x20, 0x02, 0x40
//////  ,0x00, 0x20, 0x02, 0x40  //--add
////};
////

/* USER CODE END PD */

void SystemClock_Config(void);

/* USER CODE BEGIN 0 */

void delay_nop(uint32_t nCount)
{
   for(; nCount != 0; nCount--)
   {
      __NOP();
   }
}

void iputs1(char *msg)
{
   while(*msg)
   Send_Data_To_UART1(*msg++);
}

void iputbytes1(uint8_t *msg, uint32_t ilen)
{
   while(ilen--)
   Send_Data_To_UART1(*msg++);
}

void Send_Data_To_UART1 (uint8_t c)
{
   USART1->TDR = c;
   while( (USART1-> ISR & (1<<7) ) ==0 );
}

void iputs2(char *msg)
{
   while(*msg)
   Send_Data_To_UART2(*msg++);
}

void iputbytes2(uint8_t *msg, uint32_t ilen)
{
   while(ilen--)
   Send_Data_To_UART2(*msg++);
}

void Send_Data_To_UART2 (uint8_t c)
{
   USART2->TDR = c;
   while( (USART2-> ISR & (1<<7) ) ==0 );
}

uint8_t get_checksum_8(uint8_t *ival, uint32_t inum)
{
   uint32_t i =0;
   uint8_t iret =0;
   uint16_t isum =0;

   for (i=0; i<inum; i++)
   {
      isum += ival[i];
   }

   iret = (uint8_t)(isum & 0xff);

   return iret;
}

void uartsendcmd(uint8_t *scmd, uint32_t ilen)
{
   //switch to tx
   delay_nop(WAIT2TE_MASTER);
   switch2send(USART1);

   //iputbytes1((uint8_t *)scmd,ilen);
   iputbytes1(scmd,ilen);

   //switch to rx
   delay_nop(WAIT2RE0_MASTER);
   switch2read(USART1);
}

uint32_t byte2uint32(uint8_t *strin, uint32_t *strout, uint32_t ilen)
{

   uint32_t i = 0;
   uint32_t iret = 0;

   //get crc adder
   for ( i=0; i<(ilen/4); i++)
   {
      strout[i] = (uint32_t)((strin[4*i] << 24) | (strin[4*i+1] << 16) | (strin[4*i+ 2] << 8) | strin[4*i+3]);
   }

   //last word
   if ( (ilen%4) == 3)
      strout[i] = (uint32_t)((strin[4*i] << 24) | (strin[4*i+1] << 16) | (strin[4*i+ 2] << 8) );
   if ( (ilen%4) == 2)
      strout[i] = (uint32_t)((strin[4*i] << 24) | (strin[4*i+1] << 16) );
   if ( (ilen%4) == 1)
      strout[i] = (uint32_t)((strin[4*i] << 24) );

   //get crc len
   if( (ilen%4) ==0)
      iret =  ilen/4;
   else
      iret = ilen/4 +1;

   return iret;
}

uint32_t calcu_crc32(uint32_t *idatain, uint32_t len)
{
   uint32_t icrc_poly = 0x04C11DB7;
   uint32_t icrc_out = 0xffffffff;

   for(uint32_t i = 0; i < len; i++)
   {
      icrc_out ^= idatain[i];

      //Send_Data_To_UART1(i);  //test

      for (uint8_t j = 0; j < 32; j++)
      {
         if (icrc_out & 0x80000000)
            icrc_out = (icrc_out << 1) ^ icrc_poly;
         else
            icrc_out <<= 1;
      }
   }

   return (icrc_out);
}

uint32_t calcu_crc32ex(uint32_t *idatain, uint32_t len, uint32_t icrc_in)
{
   uint32_t icrc_poly = 0x04C11DB7;
   uint32_t icrc_out = icrc_in;

   for(uint32_t i = 0; i < len; i++)
   {
      icrc_out ^= idatain[i];

      //Send_Data_To_UART1(i);  //test

      for (uint8_t j = 0; j < 32; j++)
      {
         if (icrc_out & 0x80000000)
            icrc_out = (icrc_out << 1) ^ icrc_poly;
         else
            icrc_out <<= 1;
      }
   }

   return (icrc_out);
}

void dowithuart(void)  //for uart2 test
{

//   //switch to tx
//   delay_nop(WAIT2TE_MASTER);     //300  10
//   switch2send(USART1);

   iputs2("rx...\r\n");

}

////void dowithuart(void)
////{
////
////   //iputs1("rx...\r\n");
////
////   switch (irxdata2[3])   //command
////   {
////      case 0xD1:
////
////            flg_sendtype=2;
////            irestlen=TOTAL_DATA_SIZE;
////            idataoff=0;
////
////            break;
////
////      case 0xD2:
////
////            if(flg_lastpackage==0)
////               flg_sendtype=2;
////            else
////               flg_sendtype=3;
////
////            break;

////      case 0xD3:
////
////
////
//////////--test
////////LL_mDelay(6000);
////////
////////            if(islaveaddrout==1)
////////            {
////////               islaveaddrout=2;      //switch to slave2  //--test multi slave
////////
////////               flg_sendtype=1;
////////               iwaitrespcount=0;
////////               iflashstep=0;
////////               flg_repeat=0;
////////               flg_lastpackage=0;

////////               //--FLASHTEMPDATA[0]=0xcc;
////////            }
////
////            break;

////      case 0xE3:
////
////               flg_sendtype=1;
////               iwaitrespcount=0;
////               iflashstep=0;
////               flg_repeat=0;
////               flg_lastpackage=0;

//////--test
////LL_mDelay(6000);
//////uartsendcmd( (uint8_t*)"!!!!!!!!!!",10);
////
////               break;
////
////      case 0xB1:
////               break;
////

////      default:
////
////               break;

////   }
////
////   //switch to rx
////   delay_nop(WAIT2RE_MASTER);  //WAIT2RE_SLAVE   //same
////   switch2read(USART1);
////}

void checkresendcmd(void)
{
   //------------ loop checking to send C1 -------------

   if(iflashstep==1)
   {
      if(iwaitrespcount>=WAITREPEATTIME)
      {
         iwaitrespcount=0;
         flg_repeat=1;
         flg_sendtype=1;
      }
   }

   if (flg_sendtype==1)
   {

      flg_sendtype=0;
      iflashstep=1;
      iwaitrespcount=0;

      mastercmd[0]=CMDHEADER1;  //0x55;
      mastercmd[1]=CMDHEADER2;  //0xAA;
      mastercmd[2]=0x03;
      mastercmd[3]=0xC1;        //inform to send 2k flash data
      mastercmd[4]=islaveaddrout;
      mastercmd[5]=get_checksum_8(mastercmd,5);
      uartsendcmd(mastercmd,6);

      flg_repeat=0;
   }

   //------------ loop checking to  send C2 -------------

   if(iflashstep==3)
   {
      if(iwaitrespcount>=WAITREPEATTIME)
      {
         iwaitrespcount=0;
         flg_repeat=1;
         flg_sendtype=2;
      }
   }

   if (flg_sendtype==2)
   {
      flg_sendtype=0;
      iflashstep=3;
      iwaitrespcount=0;

      static uint32_t isendnum=0;

      if(flg_repeat==1)
      {
         idataoff-=isendnum;
         irestlen+=isendnum;
      }

      isendnum=PACKAGELEN;
      if(irestlen<=PACKAGELEN)
      {
         isendnum=irestlen;
         flg_lastpackage=1;
      }

      mastercmd[0]=CMDHEADER1;  //0x55;
      mastercmd[1]=CMDHEADER2;  //0xAA;
      mastercmd[2]=isendnum+3;  //len
      mastercmd[3]=0xC2;
      mastercmd[4]=islaveaddrout;

      for(uint8_t i=0; i<isendnum; i++)  //64
         mastercmd[5+i] = FLASHTEMPDATA[idataoff+i];

      mastercmd[isendnum+5]=get_checksum_8(mastercmd,isendnum+5);
      uartsendcmd(mastercmd,isendnum+6);

      idataoff+=isendnum;
      irestlen-=isendnum;

      flg_repeat=0;
   }

   //------------ loop checking to send C3 -------------

   if(iflashstep==5)
   {
      if(iwaitrespcount>=WAITREPEATTIME)
      {
         iwaitrespcount=0;
         flg_repeat=1;
         flg_sendtype=3;

      }
   }

   if (flg_sendtype==3)
   {
      flg_sendtype=0;
      iflashstep=5;
      iwaitrespcount=0;
      uint32_t icrc=0;
      uint32_t icrclen=0;

      //make crc
      icrclen=byte2uint32( (uint8_t *)FLASHTEMPDATA,icrctempdata,idataoff);
      icrc = calcu_crc32(icrctempdata, icrclen);

      mastercmd[0]=CMDHEADER1;  //0x55;
      mastercmd[1]=CMDHEADER2;  //0xAA;
      mastercmd[2]=0x07;
      mastercmd[3]=0xC3;
      mastercmd[4]=islaveaddrout;

      mastercmd[5]=icrc>>24;
      mastercmd[6]=icrc>>16;
      mastercmd[7]=icrc>>8;
      mastercmd[8]=icrc;

      mastercmd[9]=get_checksum_8(mastercmd,9);
      uartsendcmd(mastercmd,10);

   }
}

/* USER CODE END 0 */

int main(void)
{
  /* USER CODE BEGIN 1 */
   uint8_t stest[20]={0};

  /* USER CODE END 1 */

  /* MCU Configuration--------------------------------------------------------*/

  /* Reset of all peripherals, Initializes the Flash interface and the Systick. */
  LL_APB2_GRP1_EnableClock(LL_APB2_GRP1_PERIPH_SYSCFG);
  LL_APB1_GRP1_EnableClock(LL_APB1_GRP1_PERIPH_PWR);

  /* SysTick_IRQn interrupt configuration */
  NVIC_SetPriority(SysTick_IRQn, 3);

  LL_SYSCFG_EnablePinRemap(LL_SYSCFG_PIN_RMP_PA11);
  LL_SYSCFG_EnablePinRemap(LL_SYSCFG_PIN_RMP_PA12);

  /* Configure the system clock */
  SystemClock_Config();

  /* Initialize all configured peripherals */
  MX_GPIO_Init();
  MX_USART1_UART_Init();
  MX_TIM1_Init();
  MX_TIM17_Init();
  MX_USART2_UART_Init();
  /* USER CODE BEGIN 2 */

   LL_RCC_ConfigMCO(LL_RCC_MCO1SOURCE_SYSCLK, LL_RCC_MCO1_DIV_4);   //12Mhz = 48Mhz/4

   LL_mDelay(10);  //20
   //uartsendcmd( (uint8_t*)"!!!",3);   //start
   iputs2("start...\r\n");

  /* USER CODE END 2 */

  /* Infinite loop */
  /* USER CODE BEGIN WHILE */

   islaveaddrout=1;

#if(defined BOOTLOAD_MODE)
   flg_sendtype=1;   //flash
#else
   flg_sendtype=10;  //Auto read data
#endif

   while (1)
   {
      uint8_t ichecksum=0;

      //LL_mDelay(500);
      //iputs2("run\r\n");

    /* USER CODE END WHILE */

    /* USER CODE BEGIN 3 */

      //uart rx
      if (flg_rx==1)
      {
         flg_rx=0;

         //iputs2("rx...\r\n");

         islaveaddrin=irxdata2[4];

         //checksum
         ichecksum = get_checksum_8((uint8_t *)irxdata2,irxcount2-1);

         if(ichecksum == irxdata2[irxcount2-1])
         {
            dowithuart();
         }

      }

     /* USER CODE END 3 */
   }

   while (1)
   {
      static uint32_t iuart_txcount=0;
      static uint32_t iuart_txledcount=0;
      uint8_t ichecksum=0;

    /* USER CODE END WHILE */

    /* USER CODE BEGIN 3 */

      if(flg_timer1==1)
      {
         flg_timer1=0;

         iuart_txcount++;
         iuart_txledcount++;

         if( (iflashstep==1) || (iflashstep==3) || (iflashstep==5) )
            iwaitrespcount++;

      }

      //uart rx
      if (flg_rx==1)
      {
         flg_rx=0;

         islaveaddrin=irxdata2[4];

         //checksum
         ichecksum = get_checksum_8((uint8_t *)irxdata2,irxcount2-1);

         if(ichecksum == irxdata2[irxcount2-1])
         {
            //refresh step
            if( (iflashstep==1) || (iflashstep==3) || (iflashstep==5) )
            {
               iwaitrespcount=0;
               iflashstep+=1;
            }

            if(islaveaddrin==islaveaddrout)
               dowithuart();
         }

      }

      //checking to send flash data
      checkresendcmd();

      //checking to send A1 command (get sensor data)

      if(iuart_txcount>=100)
      {
         iuart_txcount=0;

         if (flg_sendtype ==10)
         {
            //flg_sendtype=0;

            mastercmd[0]=CMDHEADER1;  //0x55;
            mastercmd[1]=CMDHEADER2;  //0xAA;
            mastercmd[2]=0x03;        //len
            mastercmd[3]=0xA1;        //get sensors data
            mastercmd[4]=islaveaddrout;  //addr
            mastercmd[5]=get_checksum_8(mastercmd,5);
            uartsendcmd(mastercmd,6);
         }
      }

		if( iuart_txledcount >=1000)
		{
			 iuart_txledcount=0;
			 LL_GPIO_TogglePin( LED_GPIO_Port, LED_Pin);
		}

  }

  /* USER CODE END 3 */
}

void SystemClock_Config(void)
{

  LL_FLASH_SetLatency(LL_FLASH_LATENCY_1);

  /* HSI configuration and activation */
  LL_RCC_HSI_Enable();
  while(LL_RCC_HSI_IsReady() != 1)
  {
  }

  LL_RCC_HSI_SetCalibTrimming(64);
  LL_RCC_SetHSIDiv(LL_RCC_HSI_DIV_1);
  /* Set AHB prescaler*/
  LL_RCC_SetAHBPrescaler(LL_RCC_HCLK_DIV_1);

  /* Sysclk activation on the HSI */
  LL_RCC_SetSysClkSource(LL_RCC_SYS_CLKSOURCE_HSI);
  while(LL_RCC_GetSysClkSource() != LL_RCC_SYS_CLKSOURCE_STATUS_HSI)
  {
  }

  /* Set APB1 prescaler*/
  LL_RCC_SetAPB1Prescaler(LL_RCC_APB1_DIV_1);
  LL_Init1msTick(48000000);
  /* Update CMSIS variable (which can be updated also through SystemCoreClockUpdate function) */
  LL_SetSystemCoreClock(48000000);
}

void Error_Handler(void)
{
   __disable_irq();
   while (1)
   {
   }
}
